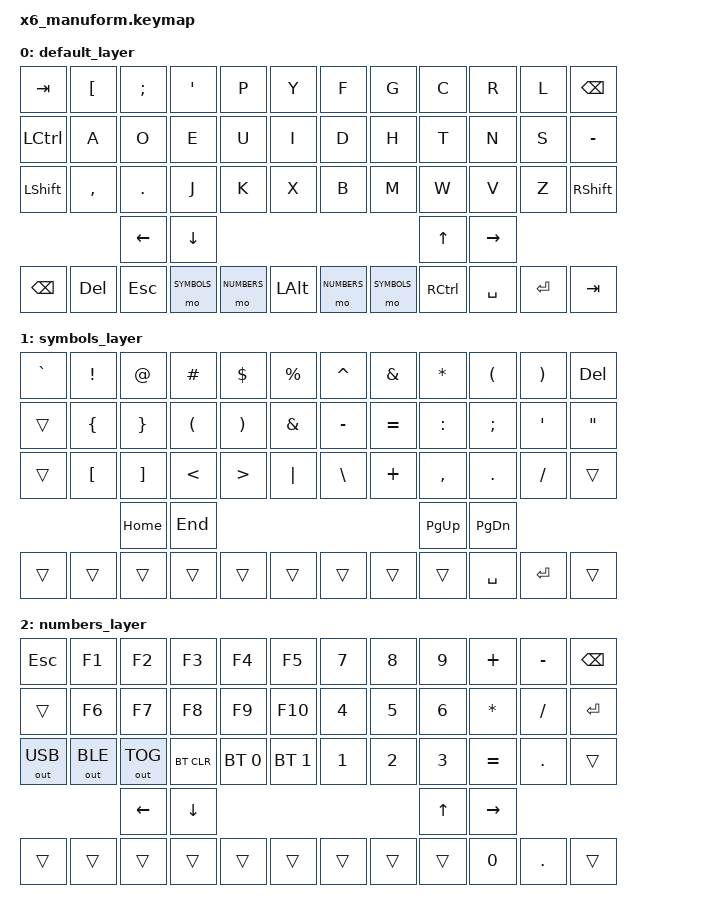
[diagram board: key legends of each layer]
// Svorak keymap for Dactyl Manuform (52 keys total: 26 per half)
// 3 main rows x 6 cols + 2 bottom finger keys + 6 thumb keys per half
// Layer 0: Bokstäver (Svorak layout)
// Layer 1: Symboler
// Layer 2: Siffror, Navigation & System (USB/BLE)

#include <behaviors.dtsi>
#include <dt-bindings/zmk/keys.h>
#include <dt-bindings/zmk/bt.h>
#include <dt-bindings/zmk/outputs.h>

#define DEFAULT 0
#define SYMBOLS 1
#define NUMBERS 2

/* Svorak svensk teckenmappning (när OS är inställt på svensk layout) */
#define SV_AA  &kp LBKT   // Å / å
#define SV_AE  &kp SCLN   // Ä / ä
#define SV_OE  &kp SQT    // Ö / ö

/ {
    keymap {
        compatible = "zmk,keymap";

        // Layer 0: Bokstäver (Svorak)
        default_layer {
            bindings = <
                &kp TAB    SV_AA      SV_AE      SV_OE      &kp P      &kp Y               &kp F      &kp G      &kp C      &kp R      &kp L      &kp BSPC
                &kp LCTRL  &kp A      &kp O      &kp E      &kp U      &kp I               &kp D      &kp H      &kp T      &kp N      &kp S      &kp MINUS
                &kp LSHFT  &kp COMMA  &kp DOT    &kp J      &kp K      &kp X               &kp B      &kp M      &kp W      &kp V      &kp Z      &kp RSHFT
                                      &kp LEFT   &kp DOWN                                                       &kp UP     &kp RIGHT
                &kp BSPC   &kp DEL    &kp ESC    &mo SYMBOLS &mo NUMBERS &kp LALT          &mo NUMBERS &mo SYMBOLS &kp RCTRL &kp SPACE  &kp RET    &kp TAB
            >;
        };

        // Layer 1: Symboler
        symbols_layer {
            bindings = <
                &kp GRAVE  &kp EXCL   &kp AT     &kp HASH   &kp DLLR   &kp PRCNT           &kp CARET  &kp AMPS   &kp ASTRK  &kp LPAR   &kp RPAR   &kp DEL
                &trans     &kp LBRC   &kp RBRC   &kp LPAR   &kp RPAR   &kp AMPS            &kp MINUS  &kp EQUAL  &kp COLON  &kp SEMI   &kp SQT    &kp DQT
                &trans     &kp LBKT   &kp RBKT   &kp LT     &kp GT     &kp PIPE            &kp BSLH   &kp PLUS   &kp COMMA  &kp DOT    &kp SLASH  &trans
                                      &kp HOME   &kp END                                                        &kp PG_UP  &kp PG_DN
                &trans     &trans     &trans     &trans     &trans     &trans              &trans     &trans     &trans     &kp SPACE  &kp RET    &trans
            >;
        };

        // Layer 2: Siffror, Navigation & System (USB/BLE utskrift)
        numbers_layer {
            bindings = <
                &kp ESC       &kp F1        &kp F2        &kp F3        &kp F4        &kp F5              &kp N7     &kp N8     &kp N9     &kp PLUS   &kp MINUS  &kp BSPC
                &trans        &kp F6        &kp F7        &kp F8        &kp F9        &kp F10             &kp N4     &kp N5     &kp N6     &kp ASTRK  &kp SLASH  &kp RET
                &out OUT_USB  &out OUT_BLE  &out OUT_TOG  &bt BT_CLR    &bt BT_SEL 0  &bt BT_SEL 1        &kp N1     &kp N2     &kp N3     &kp EQUAL  &kp DOT    &trans
                                            &kp LEFT      &kp DOWN                                                              &kp UP     &kp RIGHT
                &trans        &trans        &trans        &trans        &trans        &trans              &trans     &trans     &trans     &kp N0     &kp DOT    &trans
            >;
        };
    };
};
